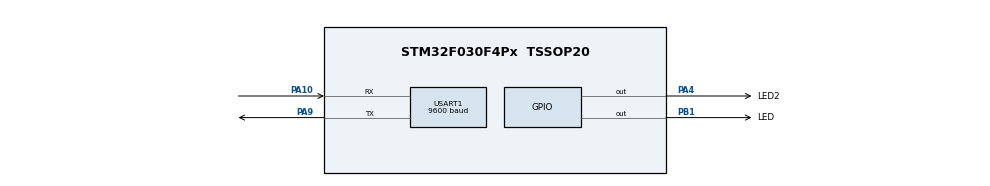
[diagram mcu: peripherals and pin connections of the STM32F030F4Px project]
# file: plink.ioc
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Mcu.Family=STM32F0
Mcu.Name=STM32F030F4Px
Mcu.Package=TSSOP20
NVIC.USART1_IRQn=true\:0\:0\:false\:false\:true\:true\:true
PA10.Mode=Asynchronous
PA10.Signal=USART1_RX
PA13.Mode=Serial_Wire
PA13.Signal=SYS_SWDIO
PA14.Mode=Serial_Wire
PA14.Signal=SYS_SWCLK
PA4.GPIO_Label=LED2
PA4.Signal=GPIO_Output
PA9.Mode=Asynchronous
PA9.Signal=USART1_TX
PB1.GPIO_Label=LED
PB1.Signal=GPIO_Output
ProjectManager.HeapSize=0x200
ProjectManager.StackSize=0x400
ProjectManager.TargetToolchain=STM32CubeIDE
USART1.BaudRate=9600
USART1.VirtualMode-Asynchronous=VM_ASYNC
board=custom

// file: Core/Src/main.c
/* USER CODE BEGIN Header */
/**
  ******************************************************************************
  * @file           : main.c
  * @brief          : Main program body
  ******************************************************************************
  * @attention
  *
  * <h2><center>&copy; Copyright (c) 2024 STMicroelectronics.
  * All rights reserved.</center></h2>
  *
  * This software component is licensed by ST under BSD 3-Clause license,
  * the "License"; You may not use this file except in compliance with the
  * License. You may obtain a copy of the License at:
  *                        opensource.org/licenses/BSD-3-Clause
  *
  ******************************************************************************
  */
/* USER CODE END Header */
#include "main.h"

UART_HandleTypeDef huart1;

void SystemClock_Config(void);
static void MX_GPIO_Init(void);
static void MX_USART1_UART_Init(void);

/* USER CODE BEGIN 0 */
int send_at_command_and_check_response(const char* at_command, const char* expected_response, char* received_data) {
  uint8_t tx_data[strlen(at_command)+1]; // Add space for null terminator
  uint8_t rx_data[strlen(expected_response)+30];
  HAL_StatusTypeDef status;
  char *ret;

  // Copy AT command to transmit buffer (including null terminator)
  strcpy((char*)tx_data, at_command);

  // Send AT command
  status = HAL_UART_Transmit(&huart1, tx_data, strlen((char*)tx_data),500);
  if (status != HAL_OK) {
    return -1; // Error during transmission
  }

  // clear buffer
  memset(rx_data, 0, sizeof(rx_data));
  memset(received_data, 0, sizeof(received_data));
  // Start receiving response with timeout
  HAL_UART_Receive(&huart1, rx_data, strlen(expected_response)+30,500);

  // Copy received data to output buffer
   strncpy(received_data, (char*)rx_data, 100); // Ensure null-termination

  ret = strstr((char*)rx_data, expected_response);
  if(ret=='\0'){
	     HAL_Delay(500);
         return -2;
     }

  HAL_GPIO_TogglePin(LED_GPIO_Port, LED_Pin);
  HAL_Delay(1000);
  HAL_GPIO_TogglePin(LED_GPIO_Port, LED_Pin);
  return 0; // Success
}

void replace_zeros_with_A(char *buffer, size_t size) {
    for (size_t i = 0; i < size; i++) {
        if (buffer[i] == 'Q') {
            buffer[i] = 'A';
        }
    }
}

/* USER CODE END 0 */

int main(void)
{

  /* MCU Configuration--------------------------------------------------------*/

  /* Reset of all peripherals, Initializes the Flash interface and the Systick. */
  HAL_Init();

  /* Configure the system clock */
  SystemClock_Config();

  /* Initialize all configured peripherals */
  MX_GPIO_Init();
  MX_USART1_UART_Init();

  /* Infinite loop */
  /* USER CODE BEGIN WHILE */
  int count = 0;
  char hello[] = "hello world";
  char buffer [10] = "hello\r\n";
  uint8_t numarray[10];
  static char msg[16];
  uint8_t Rx_data[10];
  int check;
  sprintf(buffer,"Hello %d\r\n",count);//  creating a buffer of 10 bytes
  char rx_buffer[104];
  char gp_buffer[104];
  HAL_GPIO_WritePin(LED2_GPIO_Port, LED2_Pin, GPIO_PIN_SET);
  HAL_Delay(2000);
  HAL_GPIO_WritePin(LED2_GPIO_Port, LED2_Pin, GPIO_PIN_RESET);
  check = send_at_command_and_check_response("AT\r\n", "AT\r\r\nOK\r\n", rx_buffer);
  check = send_at_command_and_check_response("AT+CPIN?\r\n", "READY", rx_buffer);
  check = send_at_command_and_check_response("AT+CGNSPWR?\r\n", "OK\r\n", rx_buffer);
  check = send_at_command_and_check_response("AT+CGNSPWR=1\r\n", "OK\r\n", rx_buffer);
//  check = send_at_command_and_check_response("AT+CGNSIPR=9600\r\n", "OK\r\n", rx_buffer);
  check = send_at_command_and_check_response("AT+CGNSSEQ=\"RMC\"\r\n", "OK\r\n", rx_buffer);
  while (1)
  {
//	  check = send_at_command_and_check_response("AT\r\n", "AT\r\r\nOK\r\n", rx_buffer);
	  memset(gp_buffer, "Q", sizeof(gp_buffer));
	  check = send_at_command_and_check_response("AT+CGNSINF\r\n", "QQQQQQQQQQQQQQQQQQQQQQQQQQQQQQQQQQQQQQQQQQQQQQQQQQQQQQQQQQQQQQQQQQQQQQQQQQQQQQQQ", rx_buffer);
	  strcpy(gp_buffer, rx_buffer);
//	  replace_zeros_with_A(gp_buffer, sizeof(gp_buffer));
    /* USER CODE END WHILE */

    /* USER CODE BEGIN 3 */

	  //debug start new module
//	  count++;

//	  if(check!=0){ //doesnt even reply to the most basic command so do system rst
//		  NVIC_SystemReset();
//
//	  }
//	  check = send_at_command_and_check_response("AT+CPIN?\r\n", "READY", rx_buffer);
	  check = send_at_command_and_check_response("AT+CSQ\r\n", "OK\r\n", rx_buffer);
	  check = send_at_command_and_check_response("AT+CREG?\r\n", "OK\r\n", rx_buffer);
	  check = send_at_command_and_check_response("AT+CGATT?\r\n", "OK\r\n", rx_buffer);
	  check = send_at_command_and_check_response("AT+CGATT=1\r\n", "AT+CGATT=1\r\r\n+CGATT: 1\r\n\r\nOK\r\n", rx_buffer);
//	  /*
//	   * check if there is no IP then send APN  and register request
//	   */
	  check = send_at_command_and_check_response("AT+CIFSR\r\n", "ERROR", rx_buffer);
	  if(check ==0){ //means it find error in CIFSR so needs to set APN and CIICR
	   check = send_at_command_and_check_response("AT+CSTT=\"TM\"\r\n", "OK\r\n", rx_buffer);
	   check = send_at_command_and_check_response("AT+CIICR\r\n", "OK\r\n", rx_buffer);
	  }
	  check = send_at_command_and_check_response("AT+CIFSR\r\n", "ERROR", rx_buffer);
	  check = send_at_command_and_check_response("AT+CIPSTART=\"TCP\",\"45.154.87.237\",\"1887\"\r\n", "AT+CIPSTART=\"TCP\",\"45.154.87.237\",\"1887\"\r\r\nOK\r\n", rx_buffer);
	  check = send_at_command_and_check_response("AT+CIPSEND=100\r\n", "AT+CIPSEND=100\r\r\n>", rx_buffer);
	  check = send_at_command_and_check_response(gp_buffer, "test\r\r\nSEND", rx_buffer);
	  HAL_Delay(2000);

//	  for(int i=0;i<=10;i++){

//	  }

	  if(check!=0){
		  //means doesn't have error in the response so it can proceed with the connection

	  }
	  /*
	   * GPS
	   */

//	  HAL_GPIO_TogglePin(LED2_GPIO_Port, LED2_Pin);
//	  HAL_Delay(2000);
      }

  /* USER CODE END 3 */
}

void SystemClock_Config(void)
{
  RCC_OscInitTypeDef RCC_OscInitStruct = {0};
  RCC_ClkInitTypeDef RCC_ClkInitStruct = {0};
  RCC_PeriphCLKInitTypeDef PeriphClkInit = {0};

  /** Initializes the RCC Oscillators according to the specified parameters
  * in the RCC_OscInitTypeDef structure.
  */
  RCC_OscInitStruct.OscillatorType = RCC_OSCILLATORTYPE_HSI;
  RCC_OscInitStruct.HSIState = RCC_HSI_ON;
  RCC_OscInitStruct.HSICalibrationValue = RCC_HSICALIBRATION_DEFAULT;
  RCC_OscInitStruct.PLL.PLLState = RCC_PLL_NONE;
  if (HAL_RCC_OscConfig(&RCC_OscInitStruct) != HAL_OK)
  {
    Error_Handler();
  }
  /** Initializes the CPU, AHB and APB buses clocks
  */
  RCC_ClkInitStruct.ClockType = RCC_CLOCKTYPE_HCLK|RCC_CLOCKTYPE_SYSCLK
                              |RCC_CLOCKTYPE_PCLK1;
  RCC_ClkInitStruct.SYSCLKSource = RCC_SYSCLKSOURCE_HSI;
  RCC_ClkInitStruct.AHBCLKDivider = RCC_SYSCLK_DIV1;
  RCC_ClkInitStruct.APB1CLKDivider = RCC_HCLK_DIV1;

  if (HAL_RCC_ClockConfig(&RCC_ClkInitStruct, FLASH_LATENCY_0) != HAL_OK)
  {
    Error_Handler();
  }
  PeriphClkInit.PeriphClockSelection = RCC_PERIPHCLK_USART1;
  PeriphClkInit.Usart1ClockSelection = RCC_USART1CLKSOURCE_PCLK1;
  if (HAL_RCCEx_PeriphCLKConfig(&PeriphClkInit) != HAL_OK)
  {
    Error_Handler();
  }
}

static void MX_USART1_UART_Init(void)
{

  huart1.Instance = USART1;
  huart1.Init.BaudRate = 9600;
  huart1.Init.WordLength = UART_WORDLENGTH_8B;
  huart1.Init.StopBits = UART_STOPBITS_1;
  huart1.Init.Parity = UART_PARITY_NONE;
  huart1.Init.Mode = UART_MODE_TX_RX;
  huart1.Init.HwFlowCtl = UART_HWCONTROL_NONE;
  huart1.Init.OverSampling = UART_OVERSAMPLING_16;
  huart1.Init.OneBitSampling = UART_ONE_BIT_SAMPLE_DISABLE;
  huart1.AdvancedInit.AdvFeatureInit = UART_ADVFEATURE_NO_INIT;
  if (HAL_UART_Init(&huart1) != HAL_OK)
  {
    Error_Handler();
  }

}

static void MX_GPIO_Init(void)
{
  GPIO_InitTypeDef GPIO_InitStruct = {0};

  /* GPIO Ports Clock Enable */
  __HAL_RCC_GPIOA_CLK_ENABLE();
  __HAL_RCC_GPIOB_CLK_ENABLE();

  /*Configure GPIO pin Output Level */
  HAL_GPIO_WritePin(LED2_GPIO_Port, LED2_Pin, GPIO_PIN_RESET);

  /*Configure GPIO pin Output Level */
  HAL_GPIO_WritePin(LED_GPIO_Port, LED_Pin, GPIO_PIN_RESET);

  /*Configure GPIO pin : LED2_Pin */
  GPIO_InitStruct.Pin = LED2_Pin;
  GPIO_InitStruct.Mode = GPIO_MODE_OUTPUT_PP;
  GPIO_InitStruct.Pull = GPIO_NOPULL;
  GPIO_InitStruct.Speed = GPIO_SPEED_FREQ_LOW;
  HAL_GPIO_Init(LED2_GPIO_Port, &GPIO_InitStruct);

  /*Configure GPIO pin : LED_Pin */
  GPIO_InitStruct.Pin = LED_Pin;
  GPIO_InitStruct.Mode = GPIO_MODE_OUTPUT_PP;
  GPIO_InitStruct.Pull = GPIO_NOPULL;
  GPIO_InitStruct.Speed = GPIO_SPEED_FREQ_LOW;
  HAL_GPIO_Init(LED_GPIO_Port, &GPIO_InitStruct);

}

void Error_Handler(void)
{
  __disable_irq();
  while (1)
  {
  }
}

/************************ (C) COPYRIGHT STMicroelectronics *****END OF FILE****/
